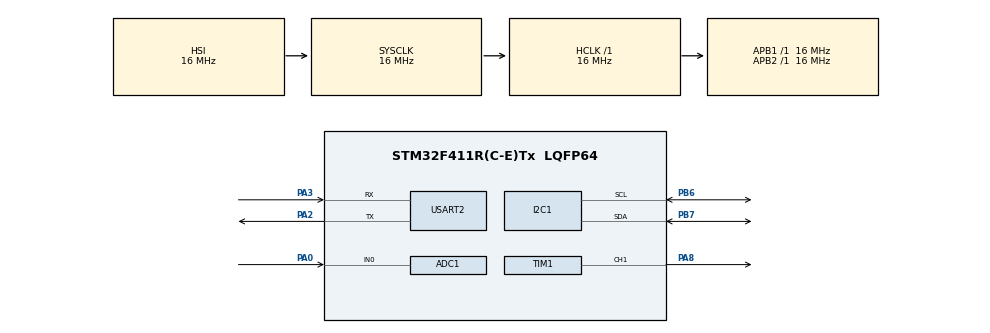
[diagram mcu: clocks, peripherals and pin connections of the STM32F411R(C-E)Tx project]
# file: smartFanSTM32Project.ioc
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ADC1.Channel-0\#ChannelRegularConversion=ADC_CHANNEL_0
ADC1.NbrOfConversionFlag=1
ADC1.Rank-0\#ChannelRegularConversion=1
ADC1.SamplingTime-0\#ChannelRegularConversion=ADC_SAMPLETIME_3CYCLES
ADC1.master=1
I2C1.I2C_Mode=I2C_Fast
Mcu.Family=STM32F4
Mcu.Name=STM32F411R(C-E)Tx
Mcu.Package=LQFP64
NVIC.PriorityGroup=NVIC_PRIORITYGROUP_4
PA0-WKUP.Signal=ADCx_IN0
PA2.Mode=Asynchronous
PA2.Signal=USART2_TX
PA3.Mode=Asynchronous
PA3.Signal=USART2_RX
PA8.Signal=S_TIM1_CH1
PB6.Mode=I2C
PB6.Signal=I2C1_SCL
PB7.Mode=I2C
PB7.Signal=I2C1_SDA
PH0\ -\ OSC_IN.Mode=HSE-External-Oscillator
PH0\ -\ OSC_IN.Signal=RCC_OSC_IN
PH1\ -\ OSC_OUT.Mode=HSE-External-Oscillator
PH1\ -\ OSC_OUT.Signal=RCC_OSC_OUT
ProjectManager.HeapSize=0x200
ProjectManager.StackSize=0x400
ProjectManager.TargetToolchain=STM32CubeIDE
RCC.AHBFreq_Value=16000000
RCC.APB1Freq_Value=16000000
RCC.APB2Freq_Value=16000000
RCC.CortexFreq_Value=16000000
RCC.HSE_VALUE=25000000
RCC.HSI_VALUE=16000000
RCC.LSE_VALUE=32768
RCC.SYSCLKFreq_VALUE=16000000
RCC.VCOOutputFreq_Value=192000000
SH.ADCx_IN0.0=ADC1_IN0,IN0
SH.S_TIM1_CH1.0=TIM1_CH1,PWM Generation1 CH1
TIM1.Channel-PWM\ Generation1\ CH1=TIM_CHANNEL_1
TIM1.Period=1000
TIM1.Prescaler=84
USART2.VirtualMode=VM_ASYNC
board=custom

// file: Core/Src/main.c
/* USER CODE BEGIN Header */
/**
  ******************************************************************************
  * @file           : main.c
  * @brief          : Main program body
  ******************************************************************************
  * @attention
  *
  * Copyright (c) 2025 STMicroelectronics.
  * All rights reserved.
  *
  * This software is licensed under terms that can be found in the LICENSE file
  * in the root directory of this software component.
  * If no LICENSE file comes with this software, it is provided AS-IS.
  *
  ******************************************************************************
  */
/* USER CODE END Header */
#include "main.h"
#include "adc.h"
#include "i2c.h"
#include "tim.h"
#include "usart.h"
#include "gpio.h"

/* USER CODE BEGIN Includes */
#include <stdio.h>
#include <math.h>
#include "./BME280/bme280.h"
#include "ssd1306.h"

/* USER CODE END Includes */

/* USER CODE BEGIN PD */
#define BETA 3435.0      // typical value from Vishay NTC datasheet (B25/85)
#define T0   298.15      // 25 °C in Kelvin
#define R0   10000.0     // 10kΩ at 25°C
#define R_FIXED 10000.0  // the fixed series resistor in your divider

/* USER CODE END PD */

/* USER CODE BEGIN PV */

float read_temperature(void) {
    // Start ADC
    HAL_ADC_Start(&hadc1);
    HAL_ADC_PollForConversion(&hadc1, HAL_MAX_DELAY);
    uint32_t adc_val = HAL_ADC_GetValue(&hadc1);

    // Converting ADC value recorded to voltage using formula
    float v_out = (adc_val / 4095.0) * 3.3;

    // Calculate NTC resistance, using resistance formula
    float r_ntc = (R_FIXED * v_out) / (3.3 - v_out);

    // using the beta steinhart eq
    float tempK = 1.0 / ((1.0/T0) + (1.0/BETA) * log(r_ntc / R0));
    float tempC = tempK - 273.15;

    return tempC; // returning temp in celsius because its better
}

float temperature;
float humidity;
float pressure;

struct bme280_dev dev;
struct bme280_data comp_data;
int8_t result;

char hum_string[32];
char temp_string[32];
char press_string[32];
char duty_string[32];

/* USER CODE END PV */

void SystemClock_Config(void);

/* USER CODE BEGIN 0 */
int8_t user_i2c_read(uint8_t id, uint8_t reg_addr, uint8_t *data, uint16_t len)
{
  if(HAL_I2C_Master_Transmit(&hi2c1, (id << 1), &reg_addr, 1, HAL_MAX_DELAY) != HAL_OK) return -1;
  if(HAL_I2C_Master_Receive(&hi2c1, (id << 1), data, len, HAL_MAX_DELAY) != HAL_OK) return -1;
  return 0;
}

// I2C write function for BME280
int8_t user_i2c_write(uint8_t id, uint8_t reg_addr, uint8_t *data, uint16_t len)
{
  uint8_t buf[16];   // using static buffer instead of malloc to avoid memory leaks
  buf[0] = reg_addr;
  memcpy(&buf[1], data, len);

  if(HAL_I2C_Master_Transmit(&hi2c1, (id << 1), buf, len + 1, HAL_MAX_DELAY) != HAL_OK) return -1;
  return 0;
}

/* Delay function for BME280 driver */
void user_delay_ms(uint32_t period)
{
    HAL_Delay(period);
}

/* USER CODE END 0 */

int main(void)
{

  /* MCU Configuration--------------------------------------------------------*/

  /* Reset of all peripherals, Initializes the Flash interface and the Systick. */
  HAL_Init();

  /* USER CODE BEGIN Init */
  int NTCMode = 0; //mode 1 is for ntc thermistor and voltage divider, mode 0 is for BME sensor. Both displayed on OLED

  result = bme280_init(&dev);
  if (result != BME280_OK) {
      printf("BME280 init failed: %d\r\n", result);
  }

  /* USER CODE END Init */

  /* Configure the system clock */
  SystemClock_Config();

  /* Initialize all configured peripherals */
  MX_GPIO_Init();
  MX_ADC1_Init();
  MX_TIM1_Init();
  MX_USART2_UART_Init();
  MX_I2C1_Init();
  /* USER CODE BEGIN 2 */
  uint32_t duty = 0;

  HAL_TIM_PWM_Start(&htim1, TIM_CHANNEL_1);
  dev.dev_id = BME280_I2C_ADDR_PRIM;
  dev.intf = BME280_I2C_INTF;
  dev.read = user_i2c_read;
  dev.write = user_i2c_write;
  dev.delay_ms = user_delay_ms;
  result = bme280_init(&dev);

  dev.settings.osr_h = BME280_OVERSAMPLING_1X;
   dev.settings.osr_p = BME280_OVERSAMPLING_16X;
   dev.settings.osr_t = BME280_OVERSAMPLING_2X;
   dev.settings.filter = BME280_FILTER_COEFF_16;
   result = bme280_set_sensor_settings(
       BME280_OSR_PRESS_SEL | BME280_OSR_TEMP_SEL |
       BME280_OSR_HUM_SEL | BME280_FILTER_SEL, &dev);

   SSD1306_Init();

   SSD1306_GotoXY(12, 12);
   SSD1306_Puts("Ahmed's", &Font_11x18, 1);
   SSD1306_GotoXY(10, 35);
   SSD1306_Puts("Weather Station", &Font_7x10, 1);
   SSD1306_UpdateScreen();
   HAL_Delay(2000);
   SSD1306_Clear();

  /* USER CODE END 2 */

  /* Infinite loop */
  while (1)
  {

    /* USER CODE BEGIN 3 */

	  // code utilizing NTC Thermistor

	  if(NTCMode){
      float temp = read_temperature();

      // Map temperature to fan duty
      uint32_t duty = 0;
      if (temp < 20) duty = 0;          // Fan OFF
      else if (temp < 24) duty = 500;   // 50% duty cycle, fan on half of the time
      else if (temp < 35) duty = 800;   // 70% duty cycle
      else duty = 1000;                 // 100%

      __HAL_TIM_SET_COMPARE(&htim1, TIM_CHANNEL_1, duty);

      printf("Temp = %.2f °C, Fan Duty = %lu\r\n", temp, duty);
      sprintf(temp_string, "Temp: %.1f \xB0""C", temp);
      sprintf(duty_string, "Temp: %.1f \xB0""C", duty);

      HAL_Delay(1000); // 1 sec update

      // Draw to OLED
      SSD1306_Clear();
      SSD1306_GotoXY(0, 0);
      SSD1306_Puts(temp_string, &Font_7x10, 1);
      SSD1306_UpdateScreen();
    	      SSD1306_GotoXY(0, 20);
    	      SSD1306_Puts(duty, &Font_7x10, 1);

  	  }
	  else {
	      result = bme280_set_sensor_mode(BME280_FORCED_MODE, &dev);
	      dev.delay_ms(100);
	      result = bme280_get_sensor_data(BME280_ALL, &comp_data, &dev);

	      // Convert fixed-point to float values
	      temperature = comp_data.temperature / 100.0f;
	      humidity    = comp_data.humidity    / 1024.0f;
	      pressure    = comp_data.pressure    / 10000.0f;

	      printf("BME280 Temp = %.2f °C, Fan Duty = %lu\r\n", temperature, duty);
	      sprintf(temp_string, "Temp: %.1f \xB0""C", temperature);
	      sprintf(hum_string,  "Hum:  %.1f %%", humidity);
	      sprintf(press_string,"Press:%.1f hPa", pressure);

	      // reaads temperature for BME280 this time
	      uint32_t duty = 0;

	      // Same fan control logic
	      if (temperature < 20) duty = 0;
	      else if (temperature < 24) duty = 500; // 50% duty cycle
	      else if (temperature < 35) duty = 800;
	      else duty = 1000;

	      __HAL_TIM_SET_COMPARE(&htim1, TIM_CHANNEL_1, duty);

	      // Draw to OLED
	      SSD1306_Clear();
	      SSD1306_GotoXY(0, 0);
	      SSD1306_Puts(temp_string, &Font_7x10, 1);
	      SSD1306_GotoXY(0, 20);
	      SSD1306_Puts(hum_string, &Font_7x10, 1);
	      SSD1306_GotoXY(0, 40);
	      SSD1306_Puts(press_string, &Font_7x10, 1);
	      SSD1306_UpdateScreen();
	      HAL_Delay(1000); // 1 sec update
	  }

	 // display on LED either way
  }
  /* USER CODE END 3 */
}

void SystemClock_Config(void)
{
  RCC_OscInitTypeDef RCC_OscInitStruct = {0};
  RCC_ClkInitTypeDef RCC_ClkInitStruct = {0};

  /** Configure the main internal regulator output voltage
  */
  __HAL_RCC_PWR_CLK_ENABLE();
  __HAL_PWR_VOLTAGESCALING_CONFIG(PWR_REGULATOR_VOLTAGE_SCALE1);

  /** Initializes the RCC Oscillators according to the specified parameters
  * in the RCC_OscInitTypeDef structure.
  */
  RCC_OscInitStruct.OscillatorType = RCC_OSCILLATORTYPE_HSI;
  RCC_OscInitStruct.HSIState = RCC_HSI_ON;
  RCC_OscInitStruct.HSICalibrationValue = RCC_HSICALIBRATION_DEFAULT;
  RCC_OscInitStruct.PLL.PLLState = RCC_PLL_NONE;
  if (HAL_RCC_OscConfig(&RCC_OscInitStruct) != HAL_OK)
  {
    Error_Handler();
  }

  /** Initializes the CPU, AHB and APB buses clocks
  */
  RCC_ClkInitStruct.ClockType = RCC_CLOCKTYPE_HCLK|RCC_CLOCKTYPE_SYSCLK
                              |RCC_CLOCKTYPE_PCLK1|RCC_CLOCKTYPE_PCLK2;
  RCC_ClkInitStruct.SYSCLKSource = RCC_SYSCLKSOURCE_HSI;
  RCC_ClkInitStruct.AHBCLKDivider = RCC_SYSCLK_DIV1;
  RCC_ClkInitStruct.APB1CLKDivider = RCC_HCLK_DIV1;
  RCC_ClkInitStruct.APB2CLKDivider = RCC_HCLK_DIV1;

  if (HAL_RCC_ClockConfig(&RCC_ClkInitStruct, FLASH_LATENCY_0) != HAL_OK)
  {
    Error_Handler();
  }
}

void Error_Handler(void)
{
  __disable_irq();
  while (1)
  {
  }
}
